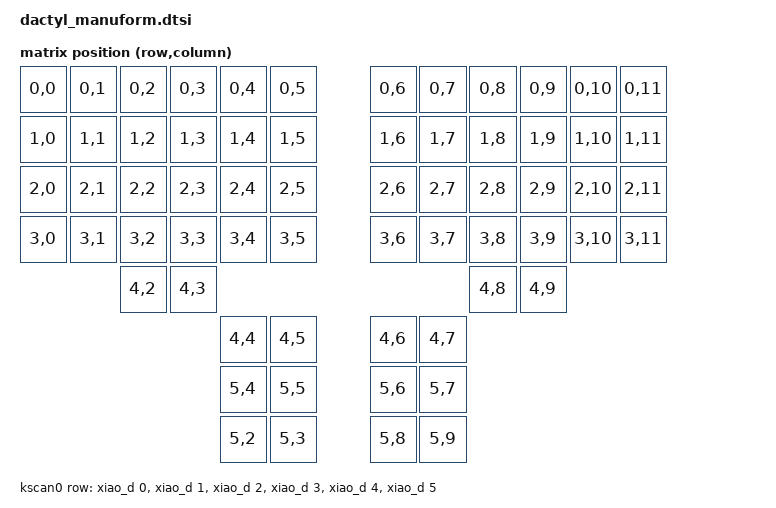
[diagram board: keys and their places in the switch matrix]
/*
 * Copyright (c) 2020 The ZMK Contributors
 *
 * SPDX-License-Identifier: MIT
 *
 * References:
 *   https://zmk.dev/docs/development/new-shield#shield-overlays
 *   https://github.com/petejohanson/revxlp-config/blob/main/config/boards/shields/revxlp/revxlp.overlay
 *   https://github.com/zmkfirmware/zmk/blob/main/app/boards/shields/iris/iris.dtsi
 *   https://github.com/qmk/qmk_firmware/blob/master/keyboards/handwired/dactyl_manuform/5x6/info.json
 *   https://gitlab.com/lpgalaxy/revxlp/-/blob/main/pcb/revxlp.kicad_sch
 */

#include <dt-bindings/zmk/matrix_transform.h>

&xiao_serial { status = "disabled"; };

/*
 * XIAO         4HC595
 *  9 (SCK)     11 (SRCLK, Clock)
 * 10 (MISO)    12 (RCLK, Latch)
 * 11 (MOSI)    14 (SER, Data)
 * 12 (3V3)     16 (Vcc), 10 (SRCLR)
 * 13 (GND)      8 (GND), 13 (OE)
 */

&xiao_spi {
	status = "okay";
	cs-gpios = <&xiao_d 9 GPIO_ACTIVE_LOW>;                    // xiao_d 9 == Hardware pin 10 (MISO)
	shifter: 595@0 {
		compatible = "zmk,gpio-595";
		status = "okay";
		gpio-controller;
		spi-max-frequency = <200000>;
		reg = <0>;
		label = "4HC595";
		#gpio-cells = <2>;
		ngpios = <8>;
	};
};

/ {
	chosen {
		zmk,kscan = &kscan0;
		zmk,matrix_transform = &default_transform;
	};

    // https://zmk.dev/docs/config/kscan#matrix-transform
    // RC(row,col)
	default_transform: keymap_transform_0 {
		compatible = "zmk,matrix-transform";
		columns = <12>;
		rows = <6>;

		map = <
            RC(0,0) RC(0,1) RC(0,2) RC(0,3) RC(0,4) RC(0,5)             RC(0,6) RC(0,7) RC(0,8) RC(0,9) RC(0,10) RC(0,11)
            RC(1,0) RC(1,1) RC(1,2) RC(1,3) RC(1,4) RC(1,5)             RC(1,6) RC(1,7) RC(1,8) RC(1,9) RC(1,10) RC(1,11)
            RC(2,0) RC(2,1) RC(2,2) RC(2,3) RC(2,4) RC(2,5)             RC(2,6) RC(2,7) RC(2,8) RC(2,9) RC(2,10) RC(2,11)
            RC(3,0) RC(3,1) RC(3,2) RC(3,3) RC(3,4) RC(3,5)             RC(3,6) RC(3,7) RC(3,8) RC(3,9) RC(3,10) RC(3,11)
                            RC(4,2) RC(4,3)                                             RC(4,8) RC(4,9)
                                            RC(4,4) RC(4,5)             RC(4,6) RC(4,7)
                                                RC(5,4) RC(5,5)     RC(5,6) RC(5,7)
                                                RC(5,2) RC(5,3)     RC(5,8) RC(5,9)
		>;
	};

	kscan0: kscan {
		compatible = "zmk,kscan-gpio-matrix";
		label = "KSCAN";
		diode-direction = "col2row";

		row-gpios
			= <&xiao_d 0 (GPIO_ACTIVE_HIGH | GPIO_PULL_DOWN)>
			, <&xiao_d 1 (GPIO_ACTIVE_HIGH | GPIO_PULL_DOWN)>
			, <&xiao_d 2 (GPIO_ACTIVE_HIGH | GPIO_PULL_DOWN)>
			, <&xiao_d 3 (GPIO_ACTIVE_HIGH | GPIO_PULL_DOWN)>
			, <&xiao_d 4 (GPIO_ACTIVE_HIGH | GPIO_PULL_DOWN)>
			, <&xiao_d 5 (GPIO_ACTIVE_HIGH | GPIO_PULL_DOWN)>
			;
	};
};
